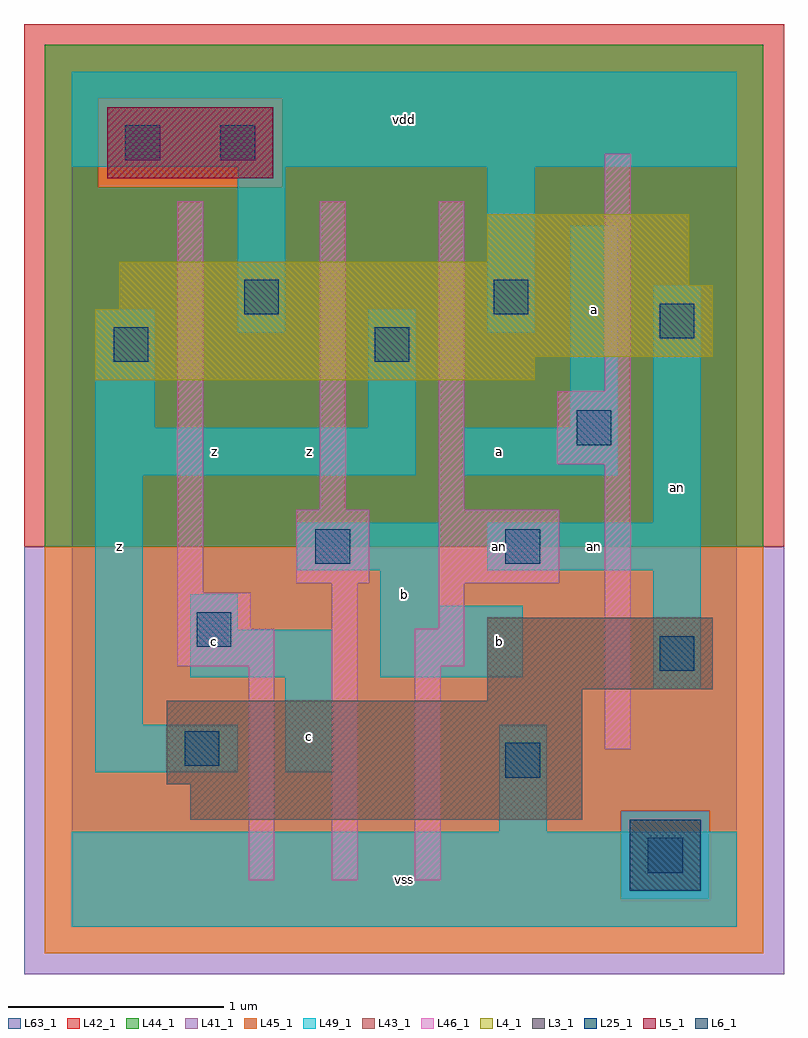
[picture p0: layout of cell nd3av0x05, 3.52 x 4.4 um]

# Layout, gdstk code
import gdstk
lib = gdstk.Library(unit=1e-6, precision=1e-09)
def R(c, l, rs):  # rectangles x0, y0, x1, y1
    for r in rs: c.add(gdstk.rectangle(r[:2], r[2:], *l))
L3_1 = (3, 1)
L4_1 = (4, 1)
L5_1 = (5, 1)
L6_1 = (6, 1)
L25_1 = (25, 1)
L41_1 = (41, 1)
L42_1 = (42, 1)
L43_1 = (43, 1)
L44_1 = (44, 1)
L45_1 = (45, 1)
L46_1 = (46, 1)
L49_1 = (49, 1)
L63_1 = (63, 1)

nd3av0x05 = lib.new_cell('nd3av0x05')
R(nd3av0x05, L3_1, [(0.55,0.495,2.365,0.66), (0.44,0.66,2.365,1.045), (1.925,1.045,2.365,1.1), (1.925,1.1,2.97,1.43)])
R(nd3av0x05, L4_1, [(0.11,2.53,2.145,2.64), (0.11,2.64,2.97,2.86), (0.22,2.86,2.97,2.97), (0.22,2.97,2.86,3.08), (1.925,3.08,2.86,3.3)])
R(nd3av0x05, L5_1, [(0.165,3.465,0.935,3.795)])
R(nd3av0x05, L6_1, [(2.585,0.165,2.915,0.495)])
R(nd3av0x05, L25_1, [(2.67,0.25,2.83,0.41), (2.01,0.69,2.17,0.85), (0.525,0.745,0.685,0.905), (2.725,1.185,2.885,1.345), (0.58,1.295,0.74,1.455), (1.13,1.68,1.29,1.84), (2.01,1.68,2.17,1.84), (2.34,2.23,2.5,2.39), (0.195,2.615,0.355,2.775), (1.405,2.615,1.565,2.775), (2.725,2.725,2.885,2.885), (0.8,2.835,0.96,2.995), (1.955,2.835,2.115,2.995), (0.25,3.55,0.41,3.71), (0.69,3.55,0.85,3.71)])
R(nd3av0x05, L41_1, [(-0.22,-0.22,3.3,1.76)])
R(nd3av0x05, L42_1, [(-0.22,1.76,3.3,4.18)])
R(nd3av0x05, L43_1, [(2.585,0.165,2.915,0.495), (0.55,0.495,2.365,0.66), (0.44,0.66,2.365,1.045), (1.925,1.045,2.365,1.1), (1.925,1.1,2.97,1.43), (0.11,2.53,2.145,2.64), (0.11,2.64,2.97,2.86), (0.22,2.86,2.97,2.97), (0.22,2.97,2.86,3.08), (1.925,3.08,2.86,3.3), (0.165,3.465,0.935,3.795)])
R(nd3av0x05, L44_1, [(2.545,0.125,2.955,0.535), (-0.125,1.76,3.205,3.425), (-0.125,3.425,0.125,3.835), (0.975,3.425,3.205,3.835), (-0.125,3.835,3.205,4.085)])
R(nd3av0x05, L45_1, [(-0.125,-0.125,3.205,0.125), (-0.125,0.125,2.545,0.535), (2.955,0.125,3.205,0.535), (-0.125,0.535,3.205,1.76), (0.125,3.425,0.975,3.835)])
R(nd3av0x05, L46_1, [(0.82,0.215,0.94,1.205), (1.205,0.215,1.325,1.59), (1.59,0.215,1.71,1.205), (2.47,0.82,2.59,2.14), (0.49,1.205,0.94,1.38), (1.59,1.205,1.82,1.38), (0.49,1.38,0.83,1.545), (1.7,1.38,1.82,1.59), (0.49,1.545,0.61,3.36), (1.04,1.59,1.38,1.93), (1.7,1.59,2.26,1.93), (1.15,1.93,1.27,3.36), (1.7,1.93,1.82,3.36), (2.25,2.14,2.59,2.48), (2.47,2.48,2.59,3.58)])
R(nd3av0x05, L49_1, [(0,0,3.08,0.44), (1.98,0.44,2.2,0.935), (0.11,0.715,0.77,0.935), (0.99,0.715,1.21,1.155), (0.11,0.935,0.33,2.09), (2.695,1.1,2.915,1.65), (0.55,1.155,1.21,1.375), (1.43,1.155,2.09,1.485), (0.55,1.375,0.77,1.54), (1.43,1.485,1.705,1.65), (1.045,1.65,1.705,1.87), (1.925,1.65,2.915,1.87), (2.695,1.87,2.915,2.97), (0.11,2.09,1.595,2.31), (1.815,2.09,2.53,2.31), (0.11,2.31,0.385,2.86), (1.375,2.31,1.595,2.86), (2.31,2.31,2.53,3.245), (0.77,2.75,0.99,3.52), (1.925,2.75,2.145,3.52), (0,3.52,3.08,3.96)])
R(nd3av0x05, L63_1, [(0,0,3.08,3.96)])
nd3av0x05.add(gdstk.Label('an', (1.98,1.76), layer=46, texttype=1))
nd3av0x05.add(gdstk.Label('z', (0.22,1.76), layer=49, texttype=1))
nd3av0x05.add(gdstk.Label('c', (1.1,0.88), layer=49, texttype=1))
nd3av0x05.add(gdstk.Label('c', (0.66,1.32), layer=49, texttype=1))
nd3av0x05.add(gdstk.Label('z', (1.1,2.2), layer=49, texttype=1))
nd3av0x05.add(gdstk.Label('z', (0.66,2.2), layer=49, texttype=1))
nd3av0x05.add(gdstk.Label('vss', (1.54,0.22), layer=49, texttype=1))
nd3av0x05.add(gdstk.Label('b', (1.54,1.54), layer=49, texttype=1))
nd3av0x05.add(gdstk.Label('b', (1.98,1.32), layer=49, texttype=1))
nd3av0x05.add(gdstk.Label('a', (1.98,2.2), layer=49, texttype=1))
nd3av0x05.add(gdstk.Label('vdd', (1.54,3.74), layer=49, texttype=1))
nd3av0x05.add(gdstk.Label('an', (2.42,1.76), layer=49, texttype=1))
nd3av0x05.add(gdstk.Label('an', (2.805,2.035), layer=49, texttype=1))
nd3av0x05.add(gdstk.Label('a', (2.42,2.86), layer=49, texttype=1))

lib.write_gds('nd3av0x05.gds')
